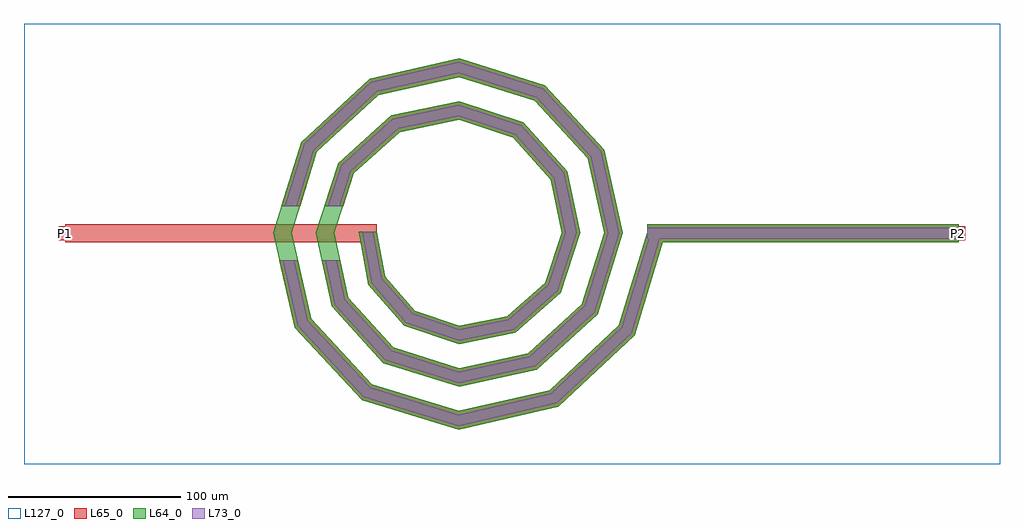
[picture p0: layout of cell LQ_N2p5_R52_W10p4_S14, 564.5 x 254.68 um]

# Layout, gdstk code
import gdstk
lib = gdstk.Library(unit=1e-6, precision=1e-09)
def R(c, l, rs):  # rectangles x0, y0, x1, y1
    for r in rs: c.add(gdstk.rectangle(r[:2], r[2:], *l))
def P(c, l, *ps):  # polygons
    for p in ps: c.add(gdstk.Polygon(p, *l))
L64_0 = (64, 0)
L65_0 = (65, 0)
L73_0 = (73, 0)
L127_0 = (127, 0)

lq_n2p5_r52_w10p4_s14 = lib.new_cell('LQ_N2p5_R52_W10p4_S14')
R(lq_n2p5_r52_w10p4_s14, L64_0, [(109.1,-5.2,289.1,5.2)])
P(lq_n2p5_r52_w10p4_s14, L64_0, [(-42.491,-24.968),(-25.354,-44.642),(0.351,-53.395),(28.019,-47.852),(49.966,-28.469),(59.563,0.318),(53.21,31.076),(31.579,55.294),(0.29,65.732),(-34.138,58.565),(-60.624,34.685),(-71.901,0.267),(-63.919,-37.204),(-37.787,-65.957),(0.247,-78.07),(40.273,-69.271),(71.291,-40.887),(84.24,0.23),(74.622,43.343),(43.986,76.626),(0.216,90.41),(-46.416,79.973),(-81.962,47.082),(-96.579,0.203),(-85.322,-49.49),(-50.178,-87.3),(0.191,-102.749),(52.565,-90.671),(92.638,-53.272),(109.325,1.515),(119.274,-1.515),(101.773,-58.971),(57.621,-100.178),(0.191,-113.51),(-55.895,-96.424),(-94.839,-54.526),(-107.34,0.203),(-91.074,52.82),(-51.43,89.502),(0.216,101.169),(49.747,85.724),(84.165,48.333),(94.998,0.23),(80.372,-46.675),(45.233,-78.829),(0.247,-88.828),(-43.605,-75.019),(-73.494,-42.131),(-82.657,0.267),(-69.664,40.537),(-39.027,68.161),(0.29,76.485),(37.473,64.307),(62.829,35.919),(70.314,0.318),(58.948,-34.413),(32.806,-57.5),(0.351,-64.142),(-31.357,-53.585),(-52.174,-29.687),(-57.704,0.984),(-47.492,0.984)])
R(lq_n2p5_r52_w10p4_s14, L65_0, [(-227.398,-5.2,-47.398,5.2), (109.1,-5.2,289.1,5.2), (-231.398,-4,-223.398,4), (285.1,-4,293.1,4)])
P(lq_n2p5_r52_w10p4_s14, L65_0, [(-85.322,-49.49),(-50.178,-87.3),(0.191,-102.749),(52.565,-90.671),(92.638,-53.272),(109.326,1.515),(119.274,-1.515),(101.773,-58.971),(57.621,-100.178),(0.191,-113.51),(-55.895,-96.424),(-94.839,-54.526),(-103.73,-15.6),(-93.063,-15.6)],
  [(-63.919,-37.204),(-37.787,-65.957),(0.247,-78.07),(40.273,-69.271),(71.291,-40.888),(84.24,0.23),(74.622,43.343),(43.986,76.626),(0.216,90.41),(-46.416,79.973),(-81.962,47.082),(-91.694,15.6),(-102.58,15.6),(-91.074,52.82),(-51.43,89.502),(0.216,101.169),(49.747,85.724),(84.165,48.333),(94.998,0.23),(80.372,-46.675),(45.233,-78.829),(0.247,-88.828),(-43.605,-75.019),(-73.494,-42.131),(-79.228,-15.6),(-68.588,-15.6)],
  [(-25.354,-44.643),(0.351,-53.395),(28.019,-47.852),(49.967,-28.469),(59.563,0.318),(53.21,31.076),(31.579,55.294),(0.29,65.732),(-34.139,58.565),(-60.624,34.685),(-66.782,15.6),(-77.71,15.6),(-69.664,40.537),(-39.027,68.161),(0.29,76.485),(37.473,64.307),(62.829,35.919),(70.314,0.318),(58.948,-34.413),(32.806,-57.5),(0.351,-64.142),(-31.357,-53.585),(-52.174,-29.687),(-57.704,0.984),(-47.492,0.984),(-42.491,-24.968)])
R(lq_n2p5_r52_w10p4_s14, L73_0, [(109.1,-3.2,289.1,3.2)])
P(lq_n2p5_r52_w10p4_s14, L73_0, [(-87.152,-50.458),(-51.277,-89.054),(0.118,-104.819),(53.538,-92.499),(94.394,-54.368),(111.239,0.932),(117.361,0.932),(100.016,-57.875),(56.649,-98.349),(0.118,-111.441),(-54.796,-94.669),(-93.009,-53.558),(-101.679,-15.6),(-95.114,-15.6)],
  [(-65.76,-38.152),(-38.906,-67.7),(0.152,-80.139),(41.227,-71.109),(73.037,-42.001),(86.309,0.142),(76.457,44.303),(45.094,78.376),(0.133,92.479),(-47.38,81.805),(-83.715,48.186),(-93.788,15.6),(-100.487,15.6),(-89.322,51.717),(-50.466,87.669),(0.133,99.1),(48.639,83.974),(82.33,47.373),(92.929,0.142),(78.625,-45.562),(44.279,-76.991),(0.152,-86.759),(-42.486,-73.276),(-71.653,-41.184),(-77.182,-15.6),(-70.634,-15.6)],
  [(-26.509,-46.362),(0.216,-55.462),(28.94,-49.708),(51.694,-29.612),(61.631,0.196),(55.06,32.008),(32.712,57.027),(0.179,67.8),(-35.079,60.411),(-62.363,35.81),(-68.883,15.6),(-75.608,15.6),(-67.926,39.412),(-38.087,66.316),(0.179,74.417),(36.34,62.574),(60.979,34.988),(68.246,0.196),(57.221,-33.27),(31.885,-55.645),(0.216,-62.075),(-30.203,-51.865),(-50.312,-28.779),(-55.74,0.606),(-49.456,0.606),(-44.353,-25.876)])
R(lq_n2p5_r52_w10p4_s14, L127_0, [(-251.398,-133.51,313.1,121.169)])
lq_n2p5_r52_w10p4_s14.add(gdstk.Label('P2', (289.1,0), layer=65, texttype=0))
lq_n2p5_r52_w10p4_s14.add(gdstk.Label('P1', (-227.398,0), layer=65, texttype=0))
lq_n2p5_r52_w10p4_s14.add(gdstk.Label('P2', (293.1,0), layer=145, texttype=0))
lq_n2p5_r52_w10p4_s14.add(gdstk.Label('P1', (-231.398,0), layer=145, texttype=0))

lib.write_gds('LQ_N2p5_R52_W10p4_S14.gds')
